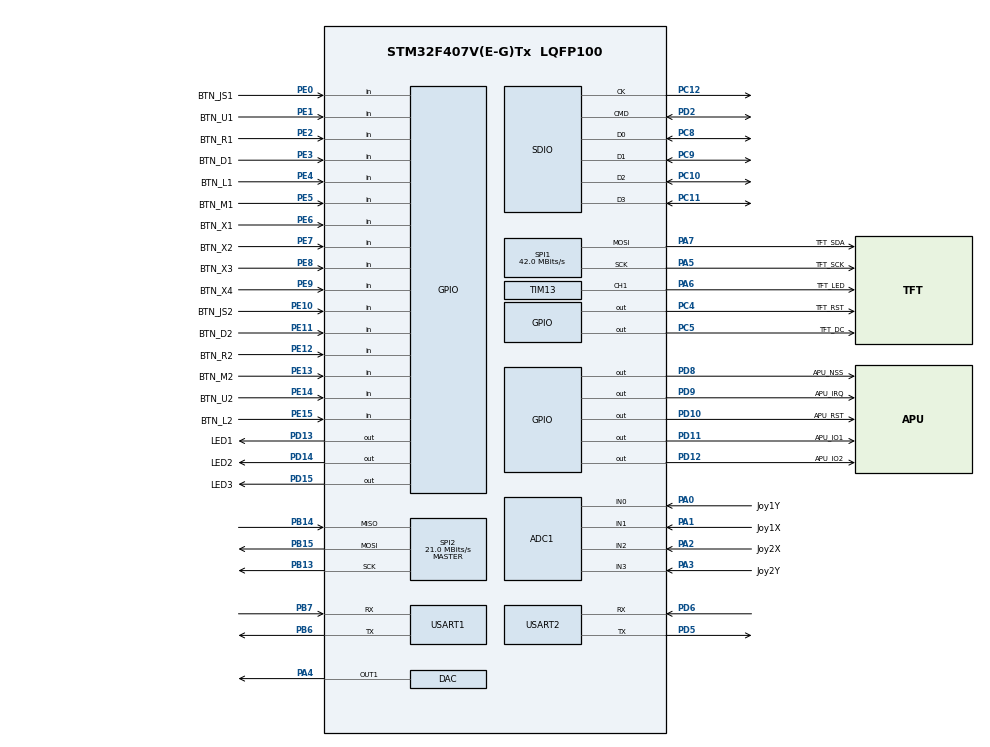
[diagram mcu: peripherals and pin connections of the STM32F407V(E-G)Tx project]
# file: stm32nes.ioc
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ADC1.Channel-0\#ChannelRegularConversion=ADC_CHANNEL_0
ADC1.Channel-1\#ChannelRegularConversion=ADC_CHANNEL_1
ADC1.Channel-2\#ChannelRegularConversion=ADC_CHANNEL_2
ADC1.Channel-3\#ChannelRegularConversion=ADC_CHANNEL_3
ADC1.ContinuousConvMode=ENABLE
ADC1.DMAContinuousRequests=ENABLE
ADC1.NbrOfConversion=4
ADC1.NbrOfConversionFlag=1
ADC1.Rank-0\#ChannelRegularConversion=1
ADC1.Rank-1\#ChannelRegularConversion=2
ADC1.Rank-2\#ChannelRegularConversion=3
ADC1.Rank-3\#ChannelRegularConversion=4
ADC1.SamplingTime-0\#ChannelRegularConversion=ADC_SAMPLETIME_480CYCLES
ADC1.SamplingTime-1\#ChannelRegularConversion=ADC_SAMPLETIME_480CYCLES
ADC1.SamplingTime-2\#ChannelRegularConversion=ADC_SAMPLETIME_480CYCLES
ADC1.SamplingTime-3\#ChannelRegularConversion=ADC_SAMPLETIME_480CYCLES
ADC1.master=1
Dma.ADC1.6.Direction=DMA_PERIPH_TO_MEMORY
Dma.ADC1.6.FIFOMode=DMA_FIFOMODE_DISABLE
Dma.ADC1.6.Instance=DMA2_Stream0
Dma.ADC1.6.MemDataAlignment=DMA_MDATAALIGN_HALFWORD
Dma.ADC1.6.MemInc=DMA_MINC_ENABLE
Dma.ADC1.6.Mode=DMA_NORMAL
Dma.ADC1.6.PeriphDataAlignment=DMA_PDATAALIGN_HALFWORD
Dma.ADC1.6.PeriphInc=DMA_PINC_DISABLE
Dma.ADC1.6.Priority=DMA_PRIORITY_LOW
Dma.DAC1.0.Direction=DMA_MEMORY_TO_PERIPH
Dma.DAC1.0.FIFOMode=DMA_FIFOMODE_DISABLE
Dma.DAC1.0.Instance=DMA1_Stream5
Dma.DAC1.0.MemDataAlignment=DMA_MDATAALIGN_HALFWORD
Dma.DAC1.0.MemInc=DMA_MINC_ENABLE
Dma.DAC1.0.Mode=DMA_NORMAL
Dma.DAC1.0.PeriphDataAlignment=DMA_PDATAALIGN_HALFWORD
Dma.DAC1.0.PeriphInc=DMA_PINC_DISABLE
Dma.DAC1.0.Priority=DMA_PRIORITY_LOW
Dma.Request0=DAC1
Dma.Request1=SPI1_TX
Dma.Request2=SPI2_RX
Dma.Request3=SPI2_TX
Dma.Request4=USART1_TX
Dma.Request5=USART2_TX
Dma.Request6=ADC1
Dma.Request7=USART1_RX
Dma.Request8=SDIO
Dma.SDIO.8.Direction=DMA_PERIPH_TO_MEMORY
Dma.SDIO.8.FIFOMode=DMA_FIFOMODE_ENABLE
Dma.SDIO.8.FIFOThreshold=DMA_FIFO_THRESHOLD_FULL
Dma.SDIO.8.Instance=DMA2_Stream6
Dma.SDIO.8.MemBurst=DMA_MBURST_INC4
Dma.SDIO.8.MemDataAlignment=DMA_MDATAALIGN_WORD
Dma.SDIO.8.MemInc=DMA_MINC_ENABLE
Dma.SDIO.8.Mode=DMA_PFCTRL
Dma.SDIO.8.PeriphBurst=DMA_PBURST_INC4
Dma.SDIO.8.PeriphDataAlignment=DMA_PDATAALIGN_WORD
Dma.SDIO.8.PeriphInc=DMA_PINC_DISABLE
Dma.SDIO.8.Priority=DMA_PRIORITY_HIGH
Dma.SPI1_TX.1.Direction=DMA_MEMORY_TO_PERIPH
Dma.SPI1_TX.1.FIFOMode=DMA_FIFOMODE_ENABLE
Dma.SPI1_TX.1.FIFOThreshold=DMA_FIFO_THRESHOLD_FULL
Dma.SPI1_TX.1.Instance=DMA2_Stream5
Dma.SPI1_TX.1.MemBurst=DMA_MBURST_INC16
Dma.SPI1_TX.1.MemDataAlignment=DMA_MDATAALIGN_BYTE
Dma.SPI1_TX.1.MemInc=DMA_MINC_ENABLE
Dma.SPI1_TX.1.Mode=DMA_NORMAL
Dma.SPI1_TX.1.PeriphBurst=DMA_PBURST_SINGLE
Dma.SPI1_TX.1.PeriphDataAlignment=DMA_PDATAALIGN_BYTE
Dma.SPI1_TX.1.PeriphInc=DMA_PINC_DISABLE
Dma.SPI1_TX.1.Priority=DMA_PRIORITY_LOW
Dma.SPI2_RX.2.Direction=DMA_PERIPH_TO_MEMORY
Dma.SPI2_RX.2.FIFOMode=DMA_FIFOMODE_DISABLE
Dma.SPI2_RX.2.Instance=DMA1_Stream3
Dma.SPI2_RX.2.MemDataAlignment=DMA_MDATAALIGN_BYTE
Dma.SPI2_RX.2.MemInc=DMA_MINC_ENABLE
Dma.SPI2_RX.2.Mode=DMA_NORMAL
Dma.SPI2_RX.2.PeriphDataAlignment=DMA_PDATAALIGN_BYTE
Dma.SPI2_RX.2.PeriphInc=DMA_PINC_DISABLE
Dma.SPI2_RX.2.Priority=DMA_PRIORITY_LOW
Dma.SPI2_TX.3.Direction=DMA_MEMORY_TO_PERIPH
Dma.SPI2_TX.3.FIFOMode=DMA_FIFOMODE_DISABLE
Dma.SPI2_TX.3.Instance=DMA1_Stream4
Dma.SPI2_TX.3.MemDataAlignment=DMA_MDATAALIGN_BYTE
Dma.SPI2_TX.3.MemInc=DMA_MINC_ENABLE
Dma.SPI2_TX.3.Mode=DMA_NORMAL
Dma.SPI2_TX.3.PeriphDataAlignment=DMA_PDATAALIGN_BYTE
Dma.SPI2_TX.3.PeriphInc=DMA_PINC_DISABLE
Dma.SPI2_TX.3.Priority=DMA_PRIORITY_LOW
Dma.USART1_RX.7.Direction=DMA_PERIPH_TO_MEMORY
Dma.USART1_RX.7.FIFOMode=DMA_FIFOMODE_DISABLE
Dma.USART1_RX.7.Instance=DMA2_Stream2
Dma.USART1_RX.7.MemDataAlignment=DMA_MDATAALIGN_BYTE
Dma.USART1_RX.7.MemInc=DMA_MINC_ENABLE
Dma.USART1_RX.7.Mode=DMA_NORMAL
Dma.USART1_RX.7.PeriphDataAlignment=DMA_PDATAALIGN_BYTE
Dma.USART1_RX.7.PeriphInc=DMA_PINC_DISABLE
Dma.USART1_RX.7.Priority=DMA_PRIORITY_LOW
Dma.USART1_TX.4.Direction=DMA_MEMORY_TO_PERIPH
Dma.USART1_TX.4.FIFOMode=DMA_FIFOMODE_DISABLE
Dma.USART1_TX.4.Instance=DMA2_Stream7
Dma.USART1_TX.4.MemDataAlignment=DMA_MDATAALIGN_BYTE
Dma.USART1_TX.4.MemInc=DMA_MINC_ENABLE
Dma.USART1_TX.4.Mode=DMA_NORMAL
Dma.USART1_TX.4.PeriphDataAlignment=DMA_PDATAALIGN_BYTE
Dma.USART1_TX.4.PeriphInc=DMA_PINC_DISABLE
Dma.USART1_TX.4.Priority=DMA_PRIORITY_LOW
Dma.USART2_TX.5.Direction=DMA_MEMORY_TO_PERIPH
Dma.USART2_TX.5.FIFOMode=DMA_FIFOMODE_DISABLE
Dma.USART2_TX.5.Instance=DMA1_Stream6
Dma.USART2_TX.5.MemDataAlignment=DMA_MDATAALIGN_BYTE
Dma.USART2_TX.5.MemInc=DMA_MINC_ENABLE
Dma.USART2_TX.5.Mode=DMA_NORMAL
Dma.USART2_TX.5.PeriphDataAlignment=DMA_PDATAALIGN_BYTE
Dma.USART2_TX.5.PeriphInc=DMA_PINC_DISABLE
Dma.USART2_TX.5.Priority=DMA_PRIORITY_LOW
FATFS.USE_DMA_CODE_SD=1
Mcu.Family=STM32F4
Mcu.Name=STM32F407V(E-G)Tx
Mcu.Package=LQFP100
NVIC.DMA1_Stream3_IRQn=true\:0\:0\:false\:false\:false\:false
NVIC.DMA1_Stream4_IRQn=true\:0\:0\:false\:false\:false\:false
NVIC.DMA1_Stream5_IRQn=true\:0\:0\:false\:false\:false\:false
NVIC.DMA1_Stream6_IRQn=true\:0\:0\:false\:false\:false\:false
NVIC.DMA2_Stream0_IRQn=true\:0\:0\:false\:false\:false\:false
NVIC.DMA2_Stream2_IRQn=true\:0\:0\:false\:false\:true\:false
NVIC.DMA2_Stream5_IRQn=true\:0\:0\:false\:false\:true\:false
NVIC.DMA2_Stream6_IRQn=true\:0\:0\:false\:false\:true\:false
NVIC.DMA2_Stream7_IRQn=true\:0\:0\:false\:false\:false\:false
NVIC.PriorityGroup=NVIC_PRIORITYGROUP_4
NVIC.SPI1_IRQn=true\:0\:0\:false\:false\:false\:true
NVIC.SPI2_IRQn=true\:0\:0\:false\:false\:false\:true
NVIC.TIM6_DAC_IRQn=true\:0\:0\:false\:false\:false\:true
NVIC.TIM8_UP_TIM13_IRQn=true\:0\:0\:false\:false\:false\:true
NVIC.USART1_IRQn=true\:0\:0\:false\:false\:false\:true
NVIC.USART2_IRQn=true\:0\:0\:false\:false\:false\:true
PA0-WKUP.GPIO_Label=Joy1Y
PA0-WKUP.Signal=ADCx_IN0
PA1.GPIO_Label=Joy1X
PA1.Signal=ADCx_IN1
PA13.Mode=Serial_Wire
PA13.Signal=SYS_JTMS-SWDIO
PA14.Mode=Serial_Wire
PA14.Signal=SYS_JTCK-SWCLK
PA2.GPIO_Label=Joy2X
PA2.Signal=ADCx_IN2
PA3.GPIO_Label=Joy2Y
PA3.Signal=ADCx_IN3
PA4.Signal=COMP_DAC1_group
PA5.GPIO_Label=TFT_SCK
PA5.Mode=TX_Only_Simplex_Unidirect_Master
PA5.Signal=SPI1_SCK
PA6.GPIO_Label=TFT_LED
PA6.Signal=S_TIM13_CH1
PA7.GPIO_Label=TFT_SDA
PA7.Mode=TX_Only_Simplex_Unidirect_Master
PA7.Signal=SPI1_MOSI
PB13.Mode=Full_Duplex_Master
PB13.Signal=SPI2_SCK
PB14.Mode=Full_Duplex_Master
PB14.Signal=SPI2_MISO
PB15.Mode=Full_Duplex_Master
PB15.Signal=SPI2_MOSI
PB6.Mode=Asynchronous
PB6.Signal=USART1_TX
PB7.Mode=Asynchronous
PB7.Signal=USART1_RX
PC10.Mode=SD_4_bits_Wide_bus
PC10.Signal=SDIO_D2
PC11.Mode=SD_4_bits_Wide_bus
PC11.Signal=SDIO_D3
PC12.Mode=SD_4_bits_Wide_bus
PC12.Signal=SDIO_CK
PC4.GPIO_Label=TFT_RST
PC4.Signal=GPIO_Output
PC5.GPIO_Label=TFT_DC
PC5.Signal=GPIO_Output
PC8.Mode=SD_4_bits_Wide_bus
PC8.Signal=SDIO_D0
PC9.Mode=SD_4_bits_Wide_bus
PC9.Signal=SDIO_D1
PD10.GPIO_Label=APU_RST
PD10.Signal=GPIO_Output
PD11.GPIO_Label=APU_IO1
PD11.Signal=GPIO_Output
PD12.GPIO_Label=APU_IO2
PD12.Signal=GPIO_Output
PD13.GPIO_Label=LED1
PD13.Signal=GPIO_Output
PD14.GPIO_Label=LED2
PD14.Signal=GPIO_Output
PD15.GPIO_Label=LED3
PD15.Signal=GPIO_Output
PD2.Mode=SD_4_bits_Wide_bus
PD2.Signal=SDIO_CMD
PD5.Mode=Asynchronous
PD5.Signal=USART2_TX
PD6.Mode=Asynchronous
PD6.Signal=USART2_RX
PD8.GPIO_Label=APU_NSS
PD8.Signal=GPIO_Output
PD9.GPIO_Label=APU_IRQ
PD9.Signal=GPIO_Output
PE0.GPIO_Label=BTN_JS1
PE0.GPIO_PuPd=GPIO_PULLUP
PE0.Signal=GPIO_Input
PE1.GPIO_Label=BTN_U1
PE1.GPIO_PuPd=GPIO_PULLUP
PE1.Signal=GPIO_Input
PE10.GPIO_Label=BTN_JS2
PE10.GPIO_PuPd=GPIO_PULLUP
PE10.Signal=GPIO_Input
PE11.GPIO_Label=BTN_D2
PE11.GPIO_PuPd=GPIO_PULLUP
PE11.Signal=GPIO_Input
PE12.GPIO_Label=BTN_R2
PE12.GPIO_PuPd=GPIO_PULLUP
PE12.Signal=GPIO_Input
PE13.GPIO_Label=BTN_M2
PE13.GPIO_PuPd=GPIO_PULLUP
PE13.Signal=GPIO_Input
PE14.GPIO_Label=BTN_U2
PE14.GPIO_PuPd=GPIO_PULLUP
PE14.Signal=GPIO_Input
PE15.GPIO_Label=BTN_L2
PE15.GPIO_PuPd=GPIO_PULLUP
PE15.Signal=GPIO_Input
PE2.GPIO_Label=BTN_R1
PE2.GPIO_PuPd=GPIO_PULLUP
PE2.Signal=GPIO_Input
PE3.GPIO_Label=BTN_D1
PE3.GPIO_PuPd=GPIO_PULLUP
PE3.Signal=GPIO_Input
PE4.GPIO_Label=BTN_L1
PE4.GPIO_PuPd=GPIO_PULLUP
PE4.Signal=GPIO_Input
PE5.GPIO_Label=BTN_M1
PE5.GPIO_PuPd=GPIO_PULLUP
PE5.Signal=GPIO_Input
PE6.GPIO_Label=BTN_X1
PE6.GPIO_PuPd=GPIO_PULLUP
PE6.Signal=GPIO_Input
PE7.GPIO_Label=BTN_X2
PE7.GPIO_PuPd=GPIO_PULLUP
PE7.Signal=GPIO_Input
PE8.GPIO_Label=BTN_X3
PE8.GPIO_PuPd=GPIO_PULLUP
PE8.Signal=GPIO_Input
PE9.GPIO_Label=BTN_X4
PE9.GPIO_PuPd=GPIO_PULLUP
PE9.Signal=GPIO_Input
PH0-OSC_IN.Mode=HSE-External-Oscillator
PH0-OSC_IN.Signal=RCC_OSC_IN
PH1-OSC_OUT.Mode=HSE-External-Oscillator
PH1-OSC_OUT.Signal=RCC_OSC_OUT
ProjectManager.HeapSize=0x200
ProjectManager.StackSize=0x400
ProjectManager.TargetToolchain=MDK-ARM V5
RCC.48MHZClocksFreq_Value=48000000
RCC.AHBFreq_Value=168000000
RCC.APB1CLKDivider=RCC_HCLK_DIV4
RCC.APB1Freq_Value=42000000
RCC.APB1TimFreq_Value=84000000
RCC.APB2CLKDivider=RCC_HCLK_DIV2
RCC.APB2Freq_Value=84000000
RCC.APB2TimFreq_Value=168000000
RCC.CortexFreq_Value=168000000
RCC.HCLKFreq_Value=168000000
RCC.HSE_VALUE=8000000
RCC.HSI_VALUE=16000000
RCC.LSE_VALUE=32768
RCC.PLLM=8
RCC.PLLN=336
RCC.PLLQ=7
RCC.PLLSourceVirtual=RCC_PLLSOURCE_HSE
RCC.RCC_MCO1Source=RCC_MCO1SOURCE_HSE
RCC.SYSCLKFreq_VALUE=168000000
RCC.SYSCLKSource=RCC_SYSCLKSOURCE_PLLCLK
RCC.VCOOutputFreq_Value=336000000
SH.ADCx_IN0.0=ADC1_IN0,IN0
SH.ADCx_IN1.0=ADC1_IN1,IN1
SH.ADCx_IN2.0=ADC1_IN2,IN2
SH.ADCx_IN3.0=ADC1_IN3,IN3
SH.COMP_DAC1_group.0=DAC_OUT1,DAC_OUT1
SH.S_TIM13_CH1.0=TIM13_CH1,PWM Generation1 CH1
SPI1.BaudRatePrescaler=SPI_BAUDRATEPRESCALER_2
SPI1.CalculateBaudRate=42.0 MBits/s
SPI1.Direction=SPI_DIRECTION_2LINES
SPI1.Mode=SPI_MODE_MASTER
SPI1.VirtualType=VM_MASTER
SPI2.CalculateBaudRate=21.0 MBits/s
SPI2.Direction=SPI_DIRECTION_2LINES
SPI2.Mode=SPI_MODE_MASTER
SPI2.VirtualType=VM_MASTER
TIM13.Channel=TIM_CHANNEL_1
USART1.VirtualMode=VM_ASYNC
USART2.VirtualMode=VM_ASYNC
VP_FATFS_VS_SDIO.Mode=SDIO
VP_TIM10_VS_ClockSourceINT.Mode=Enable_Timer
VP_TIM11_VS_ClockSourceINT.Mode=Enable_Timer
VP_TIM12_VS_ClockSourceINT.Mode=Internal
VP_TIM13_VS_ClockSourceINT.Mode=Enable_Timer
VP_TIM14_VS_ClockSourceINT.Mode=Enable_Timer
VP_TIM6_VS_ClockSourceINT.Mode=Enable_Timer
VP_TIM7_VS_ClockSourceINT.Mode=Enable_Timer
VP_TIM9_VS_ClockSourceINT.Mode=Internal
board=custom

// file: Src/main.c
/* USER CODE BEGIN Header */
/**
  ******************************************************************************
  * @file           : main.c
  * @brief          : Main program body
  ******************************************************************************
  ** This notice applies to any and all portions of this file
  * that are not between comment pairs USER CODE BEGIN and
  * USER CODE END. Other portions of this file, whether
  * inserted by the user or by software development tools
  * are owned by their respective copyright owners.
  *
  * COPYRIGHT(c) 2019 STMicroelectronics
  *
  * Redistribution and use in source and binary forms, with or without modification,
  * are permitted provided that the following conditions are met:
  *   1. Redistributions of source code must retain the above copyright notice,
  *      this list of conditions and the following disclaimer.
  *   2. Redistributions in binary form must reproduce the above copyright notice,
  *      this list of conditions and the following disclaimer in the documentation
  *      and/or other materials provided with the distribution.
  *   3. Neither the name of STMicroelectronics nor the names of its contributors
  *      may be used to endorse or promote products derived from this software
  *      without specific prior written permission.
  *
  * THIS SOFTWARE IS PROVIDED BY THE COPYRIGHT HOLDERS AND CONTRIBUTORS "AS IS"
  * AND ANY EXPRESS OR IMPLIED WARRANTIES, INCLUDING, BUT NOT LIMITED TO, THE
  * IMPLIED WARRANTIES OF MERCHANTABILITY AND FITNESS FOR A PARTICULAR PURPOSE ARE
  * DISCLAIMED. IN NO EVENT SHALL THE COPYRIGHT HOLDER OR CONTRIBUTORS BE LIABLE
  * FOR ANY DIRECT, INDIRECT, INCIDENTAL, SPECIAL, EXEMPLARY, OR CONSEQUENTIAL
  * DAMAGES (INCLUDING, BUT NOT LIMITED TO, PROCUREMENT OF SUBSTITUTE GOODS OR
  * SERVICES; LOSS OF USE, DATA, OR PROFITS; OR BUSINESS INTERRUPTION) HOWEVER
  * CAUSED AND ON ANY THEORY OF LIABILITY, WHETHER IN CONTRACT, STRICT LIABILITY,
  * OR TORT (INCLUDING NEGLIGENCE OR OTHERWISE) ARISING IN ANY WAY OUT OF THE USE
  * OF THIS SOFTWARE, EVEN IF ADVISED OF THE POSSIBILITY OF SUCH DAMAGE.
  *
  ******************************************************************************
  */
/* USER CODE END Header */

#include "main.h"
#include "adc.h"
#include "dac.h"
#include "dma.h"
#include "sdio.h"
#include "spi.h"
#include "tim.h"
#include "usart.h"
#include "gpio.h"

/* USER CODE BEGIN Includes */
#include "lcd_main.h"
#include "cpu.h"
#include "nes.h"
#include "imu.h"
/* USER CODE END Includes */

void SystemClock_Config(void);

/* USER CODE BEGIN 0 */
enum {
  ASSIGN_UP=0, ASSIGN_DOWN, ASSIGN_LEFT, ASSIGN_RIGHT, ASSIGN_A, ASSIGN_B, ASSIGN_START, ASSIGN_SEL, ASSIGN_NONE
};
uint8_t joypad_assignments[24] = {0};
uint32_t assignable_buttons[] = {BTN_R1,BTN_D1,BTN_L1,BTN_M1,BTN_JS2,BTN_D2,BTN_R2,BTN_M2,BTN_U2,BTN_L2,BTN_JS1,BTN_U1,BTN_JS1_L,BTN_JS1_R,BTN_JS1_D,BTN_JS1_U,BTN_JS2_L,BTN_JS2_R,BTN_JS2_D,BTN_JS2_U};
__forceinline char idx_from_mask(uint32_t mask) {
  return 32 - __clz(mask);
}
char joypad_icon(uint32_t i) {
  const char icons[6] = {'^', 'V', '<', '>', 'A', 'B'};
  return icons[joypad_assignments[idx_from_mask(i)]];
}
void joypad_rotate(uint32_t mask) {
  joypad_assignments[idx_from_mask(mask)] += 1;
  joypad_assignments[idx_from_mask(mask)] %= 6;
}
uint32_t joypad_assigned(uint8_t i) {
  uint32_t mask = 0;
  if (joypad_assignments[idx_from_mask(BTN_R1)]    == i) mask |= BTN_R1;
  if (joypad_assignments[idx_from_mask(BTN_D1)]    == i) mask |= BTN_D1;
  if (joypad_assignments[idx_from_mask(BTN_L1)]    == i) mask |= BTN_L1;
  if (joypad_assignments[idx_from_mask(BTN_M1)]    == i) mask |= BTN_M1;
  if (joypad_assignments[idx_from_mask(BTN_X1)]    == i) mask |= BTN_X1;
  if (joypad_assignments[idx_from_mask(BTN_X2)]    == i) mask |= BTN_X2;
  if (joypad_assignments[idx_from_mask(BTN_X3)]    == i) mask |= BTN_X3;
  if (joypad_assignments[idx_from_mask(BTN_X4)]    == i) mask |= BTN_X4;
  if (joypad_assignments[idx_from_mask(BTN_JS2)]   == i) mask |= BTN_JS2;
  if (joypad_assignments[idx_from_mask(BTN_D2)]    == i) mask |= BTN_D2;
  if (joypad_assignments[idx_from_mask(BTN_R2)]    == i) mask |= BTN_R2;
  if (joypad_assignments[idx_from_mask(BTN_M2)]    == i) mask |= BTN_M2;
  if (joypad_assignments[idx_from_mask(BTN_U2)]    == i) mask |= BTN_U2;
  if (joypad_assignments[idx_from_mask(BTN_L2)]    == i) mask |= BTN_L2;
  if (joypad_assignments[idx_from_mask(BTN_JS1)]   == i) mask |= BTN_JS1;
  if (joypad_assignments[idx_from_mask(BTN_U1)]    == i) mask |= BTN_U1;
  if (joypad_assignments[idx_from_mask(BTN_JS1_L)] == i) mask |= BTN_JS1_L;
  if (joypad_assignments[idx_from_mask(BTN_JS1_R)] == i) mask |= BTN_JS1_R;
  if (joypad_assignments[idx_from_mask(BTN_JS1_D)] == i) mask |= BTN_JS1_D;
  if (joypad_assignments[idx_from_mask(BTN_JS1_U)] == i) mask |= BTN_JS1_U;
  if (joypad_assignments[idx_from_mask(BTN_JS2_L)] == i) mask |= BTN_JS2_L;
  if (joypad_assignments[idx_from_mask(BTN_JS2_R)] == i) mask |= BTN_JS2_R;
  if (joypad_assignments[idx_from_mask(BTN_JS2_D)] == i) mask |= BTN_JS2_D;
  if (joypad_assignments[idx_from_mask(BTN_JS2_U)] == i) mask |= BTN_JS2_U;
  if (joypad_assignments[idx_from_mask(BTN_IMU_L)] == i) mask |= BTN_IMU_L;
  if (joypad_assignments[idx_from_mask(BTN_IMU_R)] == i) mask |= BTN_IMU_R;
  if (joypad_assignments[idx_from_mask(BTN_IMU_J)] == i) mask |= BTN_IMU_J;
  return mask;
}
/* USER CODE END 0 */

int main(void)
{

  /* MCU Configuration--------------------------------------------------------*/

  /* Reset of all peripherals, Initializes the Flash interface and the Systick. */
  HAL_Init();

  /* Configure the system clock */
  SystemClock_Config();

  /* USER CODE BEGIN SysInit */
	ticks_init();
  /* USER CODE END SysInit */

  /* Initialize all configured peripherals */
  MX_GPIO_Init();
  MX_DMA_Init();
  MX_SPI1_Init();
  MX_USART1_UART_Init();
  MX_ADC1_Init();
  MX_SPI2_Init();
  MX_USART2_UART_Init();
  MX_TIM13_Init();
  MX_DAC_Init();
  MX_TIM14_Init();
  MX_TIM12_Init();
  MX_TIM11_Init();
  MX_TIM10_Init();
  MX_TIM9_Init();
  MX_TIM6_Init();
  MX_TIM7_Init();
  MX_SDIO_SD_Init();
  /* USER CODE BEGIN 2 */
  tft_init(PIN_ON_LEFT, BLACK, WHITE, GREEN, RED);
  while(IMU_init() == 0);
  // IMU_enableGyro(50);
  IMU_enableRotation(50);
  // IMU_enableAccel(50);
  joystick_init();

  //Frame timer
  TIM6->PSC = 83;
  TIM6->ARR = 33333;
  TIM6->CR1 = TIM_CR1_CEN;
  //LCD backlight PWM
  TIM13->PSC = 8399;
  TIM13->ARR = 99;
  TIM13->CCR1 = 10;
  TIM13->CR1 = TIM_CR1_CEN;

  joypad_assignments[idx_from_mask(BTN_R1)]    = ASSIGN_RIGHT;
  joypad_assignments[idx_from_mask(BTN_D1)]    = ASSIGN_DOWN;
  joypad_assignments[idx_from_mask(BTN_L1)]    = ASSIGN_LEFT;
  joypad_assignments[idx_from_mask(BTN_M1)]    = ASSIGN_B;
  joypad_assignments[idx_from_mask(BTN_JS2)]   = ASSIGN_B;
  joypad_assignments[idx_from_mask(BTN_D2)]    = ASSIGN_B;
  joypad_assignments[idx_from_mask(BTN_R2)]    = ASSIGN_A;
  joypad_assignments[idx_from_mask(BTN_M2)]    = ASSIGN_B;
  joypad_assignments[idx_from_mask(BTN_U2)]    = ASSIGN_A;
  joypad_assignments[idx_from_mask(BTN_L2)]    = ASSIGN_B;
  joypad_assignments[idx_from_mask(BTN_JS1)]   = ASSIGN_B;
  joypad_assignments[idx_from_mask(BTN_U1)]    = ASSIGN_UP;
  joypad_assignments[idx_from_mask(BTN_JS1_L)] = ASSIGN_LEFT;
  joypad_assignments[idx_from_mask(BTN_JS1_R)] = ASSIGN_RIGHT;
  joypad_assignments[idx_from_mask(BTN_JS1_D)] = ASSIGN_DOWN;
  joypad_assignments[idx_from_mask(BTN_JS1_U)] = ASSIGN_UP;
  joypad_assignments[idx_from_mask(BTN_JS2_L)] = ASSIGN_B;
  joypad_assignments[idx_from_mask(BTN_JS2_R)] = ASSIGN_B;
  joypad_assignments[idx_from_mask(BTN_JS2_D)] = ASSIGN_A;
  joypad_assignments[idx_from_mask(BTN_JS2_U)] = ASSIGN_A;
  joypad_assignments[idx_from_mask(BTN_X1)]    = ASSIGN_SEL;
  joypad_assignments[idx_from_mask(BTN_X2)]    = ASSIGN_NONE;
  joypad_assignments[idx_from_mask(BTN_X3)]    = ASSIGN_NONE;
  joypad_assignments[idx_from_mask(BTN_X4)]    = ASSIGN_START;
  joypad_assignments[idx_from_mask(BTN_IMU_L)] = ASSIGN_LEFT;
  joypad_assignments[idx_from_mask(BTN_IMU_R)] = ASSIGN_RIGHT;
  joypad_assignments[idx_from_mask(BTN_IMU_J)] = ASSIGN_A;
  delay(100);
  /* USER CODE END 2 */

  /* Infinite loop */
  /* USER CODE BEGIN WHILE */
  while (1)
  {
    static int GAME_SELECT = 0;
    #define NUM_OF_GAMES 3

    static uint32_t last_joypad_state = 0;
    joypad_update();
    #define btn_pressed(X) (joypad_state & (X))
    #define btn_clicked(X) (joypad_state & (X)) && !(last_joypad_state & (X))
    tft_clear();
    tft_printc(4, 0, "ELEC3300(24) - Anshuman & Aaron");
    tft_printc(6, 12, "SELECT");
    tft_prints(13, 12, "%s Super Mario Bros]", (GAME_SELECT == 0) ? ("[>") : ("-"));
    tft_prints(13, 13, "%s Battle City]"     , (GAME_SELECT == 1) ? ("[>") : ("-"));
    tft_prints(13, 14, "%s Mappy]"           , (GAME_SELECT == 2) ? ("[>") : ("-"));

  #if 0
    // tft_printc(0, 5, " {/\\} \n{<} {>}\n {\\/} ");
    tft_printc(0, 5, " {^} \n{<}  {>}\n {V} ");
    tft_printc(36, 5, " {A} \n{B} {A}\n {B} ");
  #else
    tft_prints(0, 7, " {%c} \n{%c}{%c}{%c}\n {%c} ",
      joypad_icon(BTN_U1), joypad_icon(BTN_L1), joypad_icon(BTN_M1), joypad_icon(BTN_R1), joypad_icon(BTN_D1));
    tft_prints(36, 7, " {%c} \n{%c}{%c}{%c}\n {%c} ",
      joypad_icon(BTN_U2), joypad_icon(BTN_L2), joypad_icon(BTN_M2), joypad_icon(BTN_R2), joypad_icon(BTN_D2));
    tft_prints(0, 2, " {%c} \n{%c}{%c}{%c}\n {%c} ",
      joypad_icon(BTN_JS1_U), joypad_icon(BTN_JS1_L), joypad_icon(BTN_JS1), joypad_icon(BTN_JS1_R), joypad_icon(BTN_JS1_D));
    tft_prints(36, 2, " {%c} \n{%c}{%c}{%c}\n {%c} ",
      joypad_icon(BTN_JS2_U), joypad_icon(BTN_JS2_L), joypad_icon(BTN_JS2), joypad_icon(BTN_JS2_R), joypad_icon(BTN_JS2_D));

    if (btn_clicked(BTN_R1))    joypad_rotate(BTN_R1);
    if (btn_clicked(BTN_D1))    joypad_rotate(BTN_D1);
    if (btn_clicked(BTN_L1))    joypad_rotate(BTN_L1);
    if (btn_clicked(BTN_M1))    joypad_rotate(BTN_M1);
    if (btn_clicked(BTN_JS2))   joypad_rotate(BTN_JS2);
    if (btn_clicked(BTN_D2))    joypad_rotate(BTN_D2);
    if (btn_clicked(BTN_R2))    joypad_rotate(BTN_R2);
    if (btn_clicked(BTN_M2))    joypad_rotate(BTN_M2);
    if (btn_clicked(BTN_U2))    joypad_rotate(BTN_U2);
    if (btn_clicked(BTN_L2))    joypad_rotate(BTN_L2);
    if (btn_clicked(BTN_JS1))   joypad_rotate(BTN_JS1);
    if (btn_clicked(BTN_U1))    joypad_rotate(BTN_U1);
    if (btn_clicked(BTN_JS1_L)) joypad_rotate(BTN_JS1_L);
    if (btn_clicked(BTN_JS1_R)) joypad_rotate(BTN_JS1_R);
    if (btn_clicked(BTN_JS1_D)) joypad_rotate(BTN_JS1_D);
    if (btn_clicked(BTN_JS1_U)) joypad_rotate(BTN_JS1_U);
    if (btn_clicked(BTN_JS2_L)) joypad_rotate(BTN_JS2_L);
    if (btn_clicked(BTN_JS2_R)) joypad_rotate(BTN_JS2_R);
    if (btn_clicked(BTN_JS2_D)) joypad_rotate(BTN_JS2_D);
    if (btn_clicked(BTN_JS2_U)) joypad_rotate(BTN_JS2_U);
    joypad_A     = joypad_assigned(ASSIGN_A);
    joypad_B     = joypad_assigned(ASSIGN_B);
    joypad_U     = joypad_assigned(ASSIGN_UP);
    joypad_D     = joypad_assigned(ASSIGN_DOWN);
    joypad_L     = joypad_assigned(ASSIGN_LEFT);
    joypad_R     = joypad_assigned(ASSIGN_RIGHT);
    joypad_SEL   = joypad_assigned(ASSIGN_SEL);
    joypad_START = joypad_assigned(ASSIGN_START);

    // tft_printc(36, 5, " {A} \n{B} {A}\n {B} ");
  #endif
    tft_prints(0,  14, "{SEL}");
    tft_prints(36, 14, "{STRT}");
    tft_printc(5, 1, " __    __  ________   ______   \n\
/  \\  /  |/        | /      \\ \n\
[$$]  \\ [$$] |[$$$$$$$$]/ /[$$$$$$]  |\n\
[$$$]  \\[$$] |[$$] |__    [$$] \\__[$$]/ \n\
[$$$$]  [$$] |[$$]    |   [$$]      \\ \n\
[$$] [$$] [$$] |[$$$$$]/     [$$$$$$]  |\n\
[$$] |[$$$$] |[$$] |_____ /  \\__[$$] |\n\
[$$] | [$$$] |[$$]       |[$$]    [$$]/ \n\
[$$]/   [$$]/ [$$$$$$$$]/  [$$$$$$]/  ");

    tft_prints(0,13, "%sIMU]",(getIMUControl())?"[":"");
    // IMU_dataAvailable();
    // tft_printi(6,11,(int16_t)getAccelY()*10);
    // tft_printi(0, 1, get_ticks()%1000);
    // tft_printi(5,1,(int16_t)(getQuatI()*1000));
    // tft_printi(5,2,(int16_t)(getQuatJ()*1000));
    // tft_printi(5,3,(int16_t)(getQuatK()*1000));
    // tft_printi(5,4,(int16_t)(getQuatReal()*1000));
    // tft_printi(10,1,(int16_t)(getRoll()*10));
    // tft_printi(10,2,(int16_t)(getPitch()*10));
    // tft_printi(10,3,(int16_t)(getYaw()*10));
    // tft_printi(5,2,(int16_t)(getAccelX()*1000));

    // tft_printi(5,1,getAccelLeftRight());
    // static uint8_t asdf = 0;
    // tft_printi(5,4,asdf+= getAccelFlick());

    tft_update();

    static uint32_t last_blink = 0;
    if ((get_ticks() - last_blink) > 100) {
      gpio_toggle(LED2);
      last_blink = get_ticks();
    }

    static uint32_t last_bright = 0;
    if ((get_ticks() - last_bright) > 50) {
      if (btn_pressed(BTN_X2)) TIM13->CCR1+= 3;
      TIM13->CCR1%= 100;
      last_bright = get_ticks();
    }

    if (btn_clicked(BTN_X1))
      toggleIMUControl();

    if (btn_clicked(BTN_X3)) {
      GAME_SELECT++;
      GAME_SELECT %= 3;
    }
    if (btn_clicked(BTN_X4)) {
      nes_init(rom_select(GAME_SELECT));

      while (1) {
        if ((get_ticks() - last_bright) > 50) {
          if (btn_pressed(BTN_X2)) TIM13->CCR1+= 3;
          TIM13->CCR1 %= 100;
          last_bright = get_ticks();
        }
        if (TIM6->SR & TIM_SR_UIF) {
          IMU_dataAvailable();
          joypad_update();

          TIM6->SR = 0;
          nes_frame(0);
          // gpio_toggle(LED1);
          nes_frame(1);
          // gpio_toggle(LED1);
          if (btn_clicked(BTN_X3)) cpu_reset();
          gpio_set(LED2);
        } else {
          gpio_reset(LED2);
        }
      }
    }
    last_joypad_state = joypad_state;
    /* USER CODE END WHILE */

  }
}

void SystemClock_Config(void)
{
  LL_FLASH_SetLatency(LL_FLASH_LATENCY_5);

  if(LL_FLASH_GetLatency() != LL_FLASH_LATENCY_5)
  {
  Error_Handler();
  }
  LL_PWR_SetRegulVoltageScaling(LL_PWR_REGU_VOLTAGE_SCALE1);
  LL_RCC_HSE_Enable();

   /* Wait till HSE is ready */
  while(LL_RCC_HSE_IsReady() != 1)
  {

  }
  LL_RCC_PLL_ConfigDomain_SYS(LL_RCC_PLLSOURCE_HSE, LL_RCC_PLLM_DIV_8, 336, LL_RCC_PLLP_DIV_2);
  LL_RCC_PLL_Enable();

   /* Wait till PLL is ready */
  while(LL_RCC_PLL_IsReady() != 1)
  {

  }
  LL_RCC_SetAHBPrescaler(LL_RCC_SYSCLK_DIV_1);
  LL_RCC_SetAPB1Prescaler(LL_RCC_APB1_DIV_4);
  LL_RCC_SetAPB2Prescaler(LL_RCC_APB2_DIV_2);
  LL_RCC_SetSysClkSource(LL_RCC_SYS_CLKSOURCE_PLL);

   /* Wait till System clock is ready */
  while(LL_RCC_GetSysClkSource() != LL_RCC_SYS_CLKSOURCE_STATUS_PLL)
  {

  }
  LL_Init1msTick(168000000);
  LL_SYSTICK_SetClkSource(LL_SYSTICK_CLKSOURCE_HCLK);
  LL_SetSystemCoreClock(168000000);
}

/* USER CODE BEGIN 4 */
volatile uint32_t __ticks = 0;
volatile uint32_t __delay = 0;
volatile uint8_t  __tickf = 1;
void SysTick_Handler(void) {
	__ticks++;
	__tickf = 0;
	if (__delay) __delay--;
}
uint32_t HAL_GetTick(void)
{
  return __ticks;
}
/* USER CODE END 4 */

void Error_Handler(void)
{
}

/************************ (C) COPYRIGHT STMicroelectronics *****END OF FILE****/
